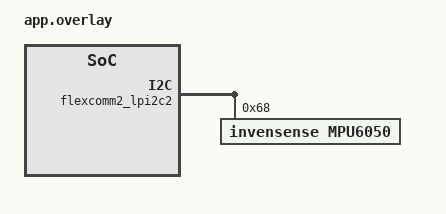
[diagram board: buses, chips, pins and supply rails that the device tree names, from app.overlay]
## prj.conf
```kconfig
# nothing here
CONFIG_SHELL=y
CONFIG_I2C=y
CONFIG_I2C_SHELL=y

CONFIG_SENSOR=y
CONFIG_MPU6050=y
CONFIG_CBPRINTF_FP_SUPPORT=y
```

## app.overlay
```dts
&flexcomm2_lpi2c2 {
	status = "okay";

	mpu6050@68 {
		compatible = "invensense,mpu6050";
		reg = <0x68>;
		status = "okay";
		smplrt-div = <249>;
	};
};



/*
&i2c22 {
    status = "okay";
    pinctrl-0 = <&i2c22_default>;
    pinctrl-1 = <&i2c22_sleep>;
    clock-frequency = <100000>;
    pinctrl-names = "default", "sleep";
    mysensor: mysensor@6b{
        compatible = "i2c-device";
        status = "okay";
        reg = < 0x6b >;
    };
};

&pinctrl {
    /omit-if-no-ref/ i2c22_default: i2c22_default {
        group1  {
            psels = <NRF_PSEL(TWIM_SCL, 1, 11)>,
                    <NRF_PSEL(TWIM_SDA, 1, 12)>;
        };
    };

    /omit-if-no-ref/ i2c22_sleep: i2c22_sleep {
        group1  {
            psels = <NRF_PSEL(TWIM_SCL, 1, 11)>,
                    <NRF_PSEL(TWIM_SDA, 1, 12)>;
            low-power-enable;
        };
    };
};
*/
```

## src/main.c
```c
/*
 * Copyright (c) 2019 Nordic Semiconductor ASA
 *
 * SPDX-License-Identifier: Apache-2.0
 */

#include <zephyr/kernel.h>
#include <zephyr/device.h>
#include <zephyr/drivers/sensor.h>
#include <stdio.h>

static const char *now_str(void)
{
	static char buf[16]; /* ...HH:MM:SS.MMM */
	uint32_t now = k_uptime_get_32();
	unsigned int ms = now % MSEC_PER_SEC;
	unsigned int s;
	unsigned int min;
	unsigned int h;

	now /= MSEC_PER_SEC;
	s = now % 60U;
	now /= 60U;
	min = now % 60U;
	now /= 60U;
	h = now;

	snprintf(buf, sizeof(buf), "%u:%02u:%02u.%03u",
		 h, min, s, ms);
	return buf;
}

static int process_mpu6050(const struct device *dev)
{
	struct sensor_value temperature;
	int rc = sensor_sample_fetch(dev);

	if (rc == 0) {
		rc = sensor_channel_get(dev, SENSOR_CHAN_DIE_TEMP,
					&temperature);
	}
	if (rc == 0) {
		printf("[%s]:%g Cel\n",
		       now_str(),
		       sensor_value_to_double(&temperature));
		} else {
		printf("sample fetch/get failed: %d\n", rc);
	}

	return rc;
}


int main(void)
{

	const struct device *const mpu6050 = DEVICE_DT_GET_ONE(invensense_mpu6050);

	if (!device_is_ready(mpu6050)) {
		printf("Device %s is not ready\n", mpu6050->name);
		return 0;
	}


	while (1) {
		int rc = process_mpu6050(mpu6050);

		if (rc != 0) {
			break;
		}
		k_sleep(K_SECONDS(2));
	}

	return 0;
}
```
